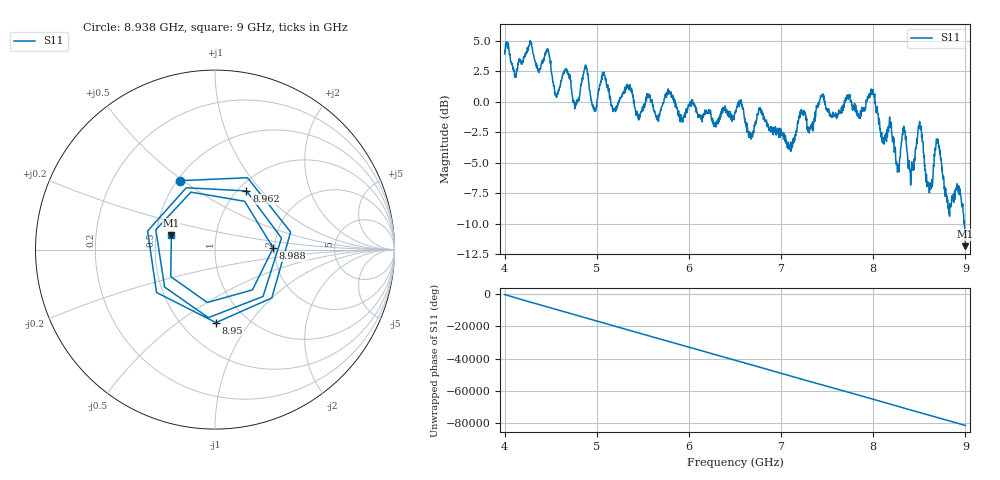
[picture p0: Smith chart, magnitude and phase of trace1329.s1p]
! Created with skrf 1.8.0 (http://scikit-rf.org).
# Hz S RI R 50.0
!freq ReS11 ImS11
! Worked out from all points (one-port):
!   1601 points, 4 GHz to 9 GHz, reference 50 ohm
!   lowest |S11| = -11.9 dB at 9 GHz (marker M1), VSWR 1.69, Z = 30.1 + j5.1 ohm
!   |S11| at or under -10 dB: 8.983967 GHz to 8.98416 GHz (192.6 kHz wide, 0.00214 % of centre); 8.989334 GHz to end of sweep
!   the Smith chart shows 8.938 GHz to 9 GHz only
!   S11 on the Smith chart (normalised r, x): 8.938 GHz: 0.52, +0.49; 8.95 GHz: 0.72, -0.70; 8.962 GHz: 1.10, +0.83; 8.988 GHz: 1.96, +0.04; 9 GHz: 0.60, +0.10
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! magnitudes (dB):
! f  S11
! 4 GHz  3.9
! 4.625 GHz  2.0
! 4.766 GHz  -0.1
! 4.878 GHz  3.0
! 4.969 GHz  -0.4
! 5.075 GHz  2.4
! 5.25 GHz  0.4
! 5.875 GHz  -0.7
! 6.5 GHz  -0.8
! 7.125 GHz  -3.4
! 7.441 GHz  0.5
! 7.75 GHz  0.2
! 7.991 GHz  0.8
! 8.097 GHz  -3.1
! 8.181 GHz  -1.7
! 8.269 GHz  -5.6
! 8.334 GHz  -2.4
! 8.375 GHz  -4.7
! 8.422 GHz  -5.2
! 8.506 GHz  -1.8
! 8.606 GHz  -6.9
! 8.694 GHz  -3.3
! 8.819 GHz  -8.9
! 8.938 GHz  -7.3
! 8.95 GHz  -7.8
! 8.962 GHz  -8.6
! 8.988 GHz  -9.8
! 9 GHz  -11.9
